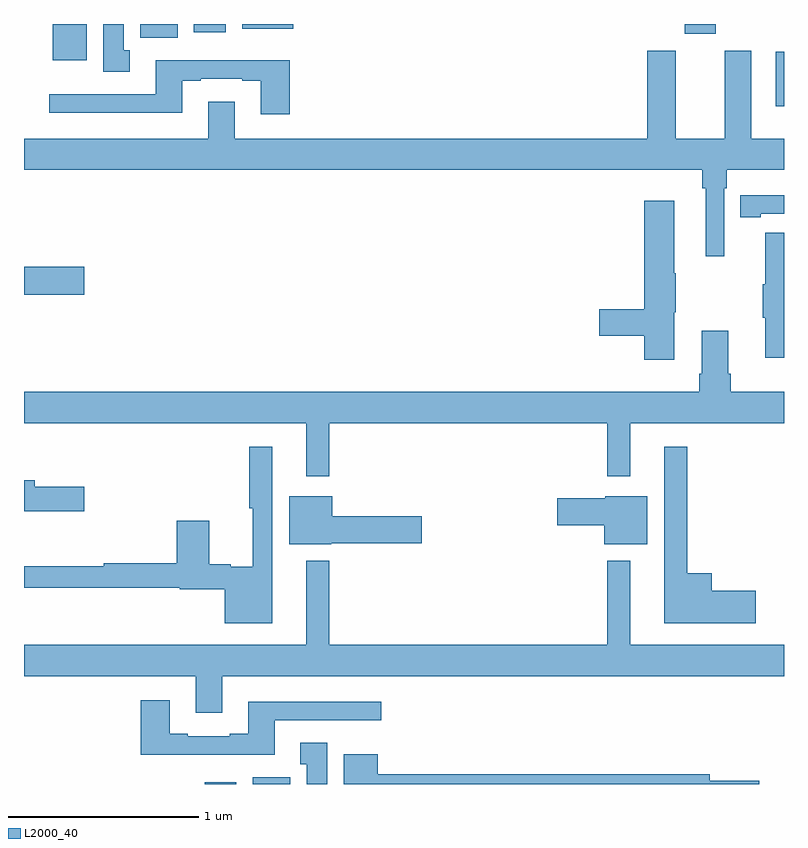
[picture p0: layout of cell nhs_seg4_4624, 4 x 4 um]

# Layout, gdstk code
import gdstk
lib = gdstk.Library(unit=1e-6, precision=1e-09)
def R(c, l, rs):  # rectangles x0, y0, x1, y1
    for r in rs: c.add(gdstk.rectangle(r[:2], r[2:], *l))
def P(c, l, *ps):  # polygons
    for p in ps: c.add(gdstk.Polygon(p, *l))
L2000_40 = (2000, 40)

nhs_seg4_4624 = lib.new_cell('nhs_seg4_4624')
R(nhs_seg4_4624, L2000_40, [(359.951,814.9,360.118,814.909), (360.203,814.9,360.4,814.936), (359,817.475,359.317,817.622), (362.957,818.466,363,818.755), (359.15,818.708,359.329,818.9), (359.612,818.828,359.809,818.9), (362.477,818.85,362.641,818.9), (359.894,818.856,360.061,818.9), (360.149,818.876,360.418,818.9)])
P(nhs_seg4_4624, L2000_40, [(359.557,818.762),(359.524,818.762),(359.524,818.9),(359.417,818.9),(359.417,818.649),(359.557,818.649)],
  [(362.685,818.036),(362.699,818.036),(362.699,818.132),(363,818.132),(363,818.296),(362.827,818.296),(362.827,818.758),(362.687,818.758),(362.687,818.296),(362.431,818.296),(362.431,818.758),(362.279,818.758),(362.279,818.296),(360.109,818.296),(360.109,818.491),(359.969,818.491),(359.969,818.296),(359,818.296),(359,818.132),(362.569,818.132),(362.569,818.036),(362.588,818.036),(362.588,817.677),(362.685,817.677)],
  [(360.398,818.71),(359.693,818.71),(359.693,818.529),(359.133,818.529),(359.133,818.432),(359.833,818.432),(359.833,818.601),(359.929,818.601),(359.929,818.613),(360.149,818.613),(360.149,818.601),(360.245,818.601),(360.245,818.424),(360.398,818.424)],
  [(362.878,817.902),(363,817.902),(363,817.999),(362.878,817.999),(362.878,817.998),(362.77,817.998),(362.77,817.882),(362.878,817.882)],
  [(362.422,817.383),(362.43,817.383),(362.43,817.589),(362.422,817.589),(362.422,817.969),(362.264,817.969),(362.264,817.4),(362.028,817.4),(362.028,817.258),(362.264,817.258),(362.264,817.134),(362.422,817.134)],
  [(363,817.801),(362.9,817.801),(362.9,817.529),(362.889,817.529),(362.889,817.355),(362.9,817.355),(362.9,817.143),(363,817.143)],
  [(360.607,816.8),(362.07,816.8),(362.07,816.519),(362.191,816.519),(362.191,816.8),(363,816.8),(363,816.964),(362.72,816.964),(362.72,817.06),(362.707,817.06),(362.707,817.285),(362.567,817.285),(362.567,817.06),(362.555,817.06),(362.555,816.964),(359,816.964),(359,816.8),(360.485,816.8),(360.485,816.519),(360.607,816.519)],
  [(362.851,815.918),(362.62,815.918),(362.62,816.01),(362.491,816.01),(362.491,816.676),(362.369,816.676),(362.369,815.747),(362.851,815.747)],
  [(360.307,816.676),(360.186,816.676),(360.186,816.351),(360.203,816.351),(360.203,816.043),(360.089,816.043),(360.089,816.056),(359.974,816.056),(359.974,816.286),(359.804,816.286),(359.804,816.062),(359.42,816.062),(359.42,816.047),(359,816.047),(359,815.934),(359.82,815.934),(359.82,815.926),(360.056,815.926),(360.056,815.747),(360.307,815.747)],
  [(359.317,816.465),(359.056,816.465),(359.056,816.499),(359,816.499),(359,816.335),(359.317,816.335)],
  [(360.618,816.167),(361.093,816.167),(361.093,816.309),(360.622,816.309),(360.622,816.415),(360.395,816.415),(360.395,816.161),(360.618,816.161)],
  [(362.281,816.415),(362.058,816.415),(362.058,816.405),(361.806,816.405),(361.806,816.263),(362.054,816.263),(362.054,816.161),(362.281,816.161)],
  [(360.043,815.468),(363,815.468),(363,815.632),(362.191,815.632),(362.191,816.076),(362.07,816.076),(362.07,815.632),(360.607,815.632),(360.607,816.076),(360.485,816.076),(360.485,815.632),(359,815.632),(359,815.468),(359.903,815.468),(359.903,815.274),(360.043,815.274)],
  [(360.319,815.235),(360.88,815.235),(360.88,815.332),(360.179,815.332),(360.179,815.164),(360.083,815.164),(360.083,815.151),(359.863,815.151),(359.863,815.164),(359.767,815.164),(359.767,815.341),(359.615,815.341),(359.615,815.054),(360.319,815.054)],
  [(360.595,815.116),(360.455,815.116),(360.455,815.003),(360.488,815.003),(360.488,814.9),(360.595,814.9)],
  [(362.869,814.916),(362.608,814.916),(362.608,814.952),(360.862,814.952),(360.862,815.056),(360.683,815.056),(360.683,814.9),(362.869,814.9)])

lib.write_gds('nhs_seg4_4624.gds')
